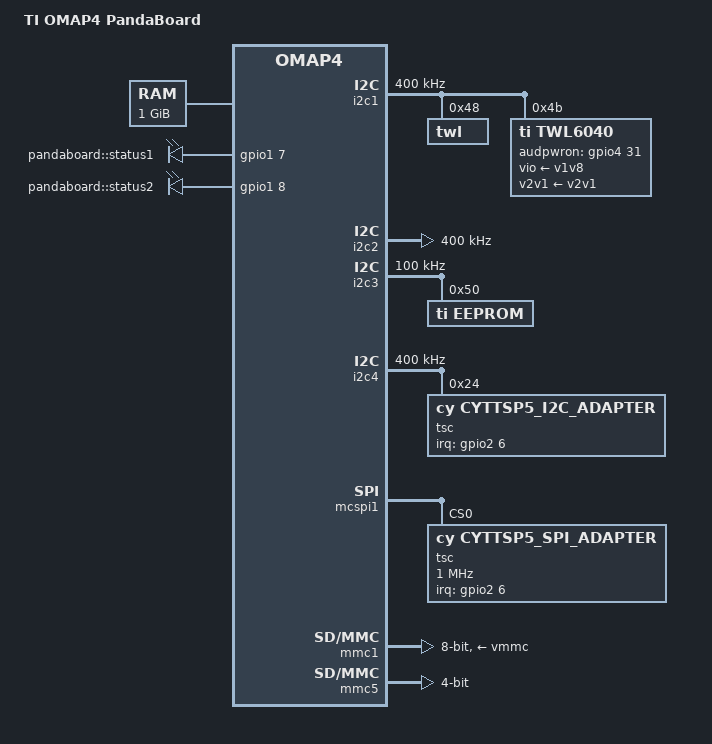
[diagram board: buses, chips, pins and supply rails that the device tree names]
/*
 * Copyright (C) 2011 Texas Instruments Incorporated - http://www.ti.com/
 *
 * This program is free software; you can redistribute it and/or modify
 * it under the terms of the GNU General Public License version 2 as
 * published by the Free Software Foundation.
 */
/dts-v1/;

/include/ "omap4.dtsi"
/include/ "elpida_ecb240abacn.dtsi"

/ {
	model = "TI OMAP4 PandaBoard";
	compatible = "ti,omap4-panda", "ti,omap4430", "ti,omap4";

	memory {
		device_type = "memory";
		reg = <0x80000000 0x40000000>; /* 1 GB */
	};

	leds {
		compatible = "gpio-leds";
		heartbeat {
			label = "pandaboard::status1";
			gpios = <&gpio1 7 0>;
			linux,default-trigger = "heartbeat";
		};

		mmc {
			label = "pandaboard::status2";
			gpios = <&gpio1 8 0>;
			linux,default-trigger = "mmc0";
		};
	};

	sound: sound {
		compatible = "ti,abe-twl6040";
		ti,model = "PandaBoard";

		ti,mclk-freq = <38400000>;

		ti,mcpdm = <&mcpdm>;

		ti,twl6040 = <&twl6040>;

		/* Audio routing */
		ti,audio-routing =
			"Headset Stereophone", "HSOL",
			"Headset Stereophone", "HSOR",
			"Ext Spk", "HFL",
			"Ext Spk", "HFR",
			"Line Out", "AUXL",
			"Line Out", "AUXR",
			"HSMIC", "Headset Mic",
			"Headset Mic", "Headset Mic Bias",
			"AFML", "Line In",
			"AFMR", "Line In";
	};
};

&omap4_pmx_core {
	pinctrl-names = "default";
	pinctrl-0 = <
			&twl6040_pins
			&mcpdm_pins
			&mcbsp1_pins
			&dss_hdmi_pins
			&tpd12s015_pins
			&cyttsp5_pins
	>;

	twl6040_pins: pinmux_twl6040_pins {
		pinctrl-single,pins = <
			0xe0 0x3	/* hdq_sio.gpio_127 OUTPUT | MODE3 */
			0x160 0x100	/* sys_nirq2.sys_nirq2 INPUT | MODE0 */
		>;
	};

	mcpdm_pins: pinmux_mcpdm_pins {
		pinctrl-single,pins = <
			0xc6 0x108	/* abe_pdm_ul_data.abe_pdm_ul_data INPUT PULLDOWN | MODE0 */
			0xc8 0x108	/* abe_pdm_dl_data.abe_pdm_dl_data INPUT PULLDOWN | MODE0 */
			0xca 0x118	/* abe_pdm_frame.abe_pdm_frame INPUT PULLUP | MODE0 */
			0xcc 0x108	/* abe_pdm_lb_clk.abe_pdm_lb_clk INPUT PULLDOWN | MODE0 */
			0xce 0x108	/* abe_clks.abe_clks INPUT PULLDOWN | MODE0 */
		>;
	};

	mcbsp1_pins: pinmux_mcbsp1_pins {
		pinctrl-single,pins = <
			0xbe 0x100	/* abe_mcbsp1_clkx.abe_mcbsp1_clkx INPUT | MODE0 */
			0xc0 0x108	/* abe_mcbsp1_dr.abe_mcbsp1_dr INPUT PULLDOWN | MODE0 */
			0xc2 0x8		/* abe_mcbsp1_dx.abe_mcbsp1_dx OUTPUT PULLDOWN | MODE0 */
			0xc4 0x100	/* abe_mcbsp1_fsx.abe_mcbsp1_fsx INPUT | MODE0 */
		>;
	};

	dss_hdmi_pins: pinmux_dss_hdmi_pins {
		pinctrl-single,pins = <
			0x5a 0x118	/* hdmi_cec.hdmi_cec INPUT PULLUP | MODE 0 */
			0x5c 0x118	/* hdmi_scl.hdmi_scl INPUT PULLUP | MODE 0 */
			0x5e 0x118	/* hdmi_sda.hdmi_sda INPUT PULLUP | MODE 0 */
		>;
	};

	tpd12s015_pins: pinmux_tpd12s015_pins {
		pinctrl-single,pins = <
			0x22 0x3	/* gpmc_a17.gpio_41 OUTPUT | MODE3 */
			0x48 0x3	/* gpmc_nbe1.gpio_60 OUTPUT | MODE3 */
			0x58 0x10b	/* hdmi_hpd.gpio_63 INPUT PULLDOWN | MODE3 */
		>;
	};

	cyttsp5_pins: pinmux_cyttsp5_pins {
		pinctrl-single,pins = <
			0x1c 0x11b	/* gpmc_a14.gpio_38 INPUT PULLUP | MODE3 */
			0x1a 0x3	/* gpmc_a13.gpio_37 OUTPUT | MODE3 */
		>;
	};
};

&i2c1 {
	clock-frequency = <400000>;

	twl: twl@48 {
		reg = <0x48>;
		/* SPI = 0, IRQ# = 7, 4 = active high level-sensitive */
		interrupts = <0 7 4>; /* IRQ_SYS_1N cascaded to gic */
		interrupt-parent = <&gic>;
	};

	twl6040: twl@4b {
		compatible = "ti,twl6040";
		reg = <0x4b>;
		/* SPI = 0, IRQ# = 119, 4 = active high level-sensitive */
		interrupts = <0 119 4>; /* IRQ_SYS_2N cascaded to gic */
		interrupt-parent = <&gic>;
		ti,audpwron-gpio = <&gpio4 31 0>;  /* gpio line 127 */

		vio-supply = <&v1v8>;
		v2v1-supply = <&v2v1>;
		enable-active-high;
	};
};

/include/ "twl6030.dtsi"

&i2c2 {
	clock-frequency = <400000>;
};

&i2c3 {
	clock-frequency = <100000>;

	/*
	 * Display monitor features are burnt in their EEPROM as EDID data.
	 * The EEPROM is connected as I2C slave device.
	 */
	eeprom@50 {
		compatible = "ti,eeprom";
		reg = <0x50>;
	};
};

&i2c4 {
	clock-frequency = <400000>;

	tsc@24 {
		compatible = "cy,cyttsp5_i2c_adapter";
		reg = <0x24>;

		/* GPIO 38, high-to-low edge triggered */
		interrupts = <6 2>;
		interrupt-parent = <&gpio2>;
		cy,adapter_id = "cyttsp5_i2c_adapter";

		cy,core {
			cy,name = "cyttsp5_core";

			cy,irq_gpio = <38>;
			cy,rst_gpio = <37>;
			cy,hid_desc_register = <1>;
			/*CY_CORE_FLAG_RESTORE_PARAMETERS */
			cy,flags = <4>;
			/* CY_CORE_EWG_NONE */
			cy,easy_wakeup_gesture = <0>;
			cy,btn_keys = <172 /* KEY_HOMEPAGE */
					   /* previously was KEY_HOME, new Android versions use KEY_HOMEPAGE */
				       139 /* KEY_MENU */
				       158 /* KEY_BACK */
				       217 /* KEY_SEARCH */
				       114 /* KEY_VOLUMEDOWN */
				       115 /* KEY_VOLUMEUP */
				       212 /* KEY_CAMERA */
				       116>; /* KEY_POWER */
			cy,btn_keys-tag = <0>;

			cy,mt {
				cy,name = "cyttsp5_mt";

				cy,inp_dev_name = "cyttsp5_mt";
				/* CY_MT_FLAG_FLIP | CY_MT_FLAG_INV_X | CY_MT_FLAG_INV_Y */
				cy,flags = <0x38>;
				cy,abs =
					/* ABS_MT_POSITION_X, CY_ABS_MIN_X, CY_ABS_MAX_X, 0, 0 */
					<0x35 0 880 0 0
					/* ABS_MT_POSITION_Y, CY_ABS_MIN_Y, CY_ABS_MAX_Y, 0, 0 */
					0x36 0 1280 0 0
					/* ABS_MT_PRESSURE, CY_ABS_MIN_P, CY_ABS_MAX_P, 0, 0 */
					0x3a 0 255 0 0
					/* CY_IGNORE_VALUE, CY_ABS_MIN_W, CY_ABS_MAX_W, 0, 0 */
					0xffff 0 255 0 0
					/* ABS_MT_TRACKING_ID, CY_ABS_MIN_T, CY_ABS_MAX_T, 0, 0 */
					0x39 0 15 0 0
					/* ABS_MT_TOUCH_MAJOR, 0, 255, 0, 0 */
					0x30 0 255 0 0
					/* ABS_MT_TOUCH_MINOR, 0, 255, 0, 0 */
					0x31 0 255 0 0
					/* ABS_MT_ORIENTATION, -127, 127, 0, 0 */
					0x34 0xffffff81 127 0 0
					/* ABS_MT_TOOL_TYPE, 0, MT_TOOL_MAX, 0, 0 */
					0x37 0 1 0 0
					/* ABS_MT_DISTANCE, 0, 255, 0, 0 */
					0x3b 0 255 0 0>;

				cy,vkeys_x = <720>;
				cy,vkeys_y = <1280>;

				cy,virtual_keys = /* KeyCode CenterX CenterY Width Height */
					/* KEY_BACK */
					<158 1360 90 160 180
					/* KEY_MENU */
					139 1360 270 160 180
					/* KEY_HOMEPAGE */
					172 1360 450 160 180
					/* KEY SEARCH */
					217 1360 630 160 180>;
			};

			cy,btn {
				cy,name = "cyttsp5_btn";

				cy,inp_dev_name = "cyttsp5_btn";
			};

			cy,proximity {
				cy,name = "cyttsp5_proximity";

				cy,inp_dev_name = "cyttsp5_proximity";
				cy,abs =
					/* ABS_DISTANCE, CY_PROXIMITY_MIN_VAL, CY_PROXIMITY_MAX_VAL, 0, 0 */
					<0x19 0 1 0 0>;
			};
		};
	};
};

&mcspi1 {
	tsc@0 {
		compatible = "cy,cyttsp5_spi_adapter";
		reg = <0>;
		spi-max-frequency = <1000000>;

		/* GPIO 38, high-to-low edge triggered */
		interrupts = <6 2>;
		interrupt-parent = <&gpio2>;
		cy,adapter_id = "cyttsp5_spi_adapter";

		cy,core {
			cy,name = "cyttsp5_core";

			cy,irq_gpio = <38>;
			cy,rst_gpio = <37>;
			cy,hid_desc_register = <1>;
			/* CY_CORE_FLAG_RESTORE_PARAMETERS */
			cy,flags = <4>;
			/* CY_CORE_EWG_NONE */
			cy,easy_wakeup_gesture = <0>;
			cy,btn_keys = <172 /* KEY_HOMEPAGE */
					   /* previously was KEY_HOME, new Android versions use KEY_HOMEPAGE */
				       139 /* KEY_MENU */
				       158 /* KEY_BACK */
				       217 /* KEY_SEARCH */
				       114 /* KEY_VOLUMEDOWN */
				       115 /* KEY_VOLUMEUP */
				       212 /* KEY_CAMERA */
				       116>; /* KEY_POWER */
			cy,btn_keys-tag = <0>;

			cy,mt {
				cy,name = "cyttsp5_mt";

				cy,inp_dev_name = "cyttsp5_mt";
				/* CY_MT_FLAG_FLIP | CY_MT_FLAG_INV_X | CY_MT_FLAG_INV_Y */
				cy,flags = <0x38>;
				cy,abs =
					/* ABS_MT_POSITION_X, CY_ABS_MIN_X, CY_ABS_MAX_X, 0, 0 */
					<0x35 0 880 0 0
					/* ABS_MT_POSITION_Y, CY_ABS_MIN_Y, CY_ABS_MAX_Y, 0, 0 */
					0x36 0 1280 0 0
					/* ABS_MT_PRESSURE, CY_ABS_MIN_P, CY_ABS_MAX_P, 0, 0 */
					0x3a 0 255 0 0
					/* CY_IGNORE_VALUE, CY_ABS_MIN_W, CY_ABS_MAX_W, 0, 0 */
					0xffff 0 255 0 0
					/* ABS_MT_TRACKING_ID, CY_ABS_MIN_T, CY_ABS_MAX_T, 0, 0 */
					0x39 0 15 0 0
					/* ABS_MT_TOUCH_MAJOR, 0, 255, 0, 0 */
					0x30 0 255 0 0
					/* ABS_MT_TOUCH_MINOR, 0, 255, 0, 0 */
					0x31 0 255 0 0
					/* ABS_MT_ORIENTATION, -127, 127, 0, 0 */
					0x34 0xffffff81 127 0 0
					/* ABS_MT_TOOL_TYPE, 0, MT_TOOL_MAX, 0, 0 */
					0x37 0 1 0 0
					/* ABS_MT_DISTANCE, 0, 255, 0, 0 */
					0x3b 0 255 0 0>;

				cy,vkeys_x = <720>;
				cy,vkeys_y = <1280>;

				cy,virtual_keys = /* KeyCode CenterX CenterY Width Height */
					/* KEY_BACK */
					<158 1360 90 160 180
					/* KEY_MENU */
					139 1360 270 160 180
					/* KEY_HOMEPAGE */
					172 1360 450 160 180
					/* KEY SEARCH */
					217 1360 630 160 180>;
			};

			cy,btn {
				cy,name = "cyttsp5_btn";

				cy,inp_dev_name = "cyttsp5_btn";
			};

			cy,proximity {
				cy,name = "cyttsp5_proximity";

				cy,inp_dev_name = "cyttsp5_proximity";
				cy,abs =
					/* ABS_DISTANCE, CY_PROXIMITY_MIN_VAL, CY_PROXIMITY_MAX_VAL, 0, 0 */
					<0x19 0 1 0 0>;
			};
		};
	};
};

&mmc1 {
	vmmc-supply = <&vmmc>;
	bus-width = <8>;
};

&mmc2 {
	status = "disabled";
};

&mmc3 {
	status = "disabled";
};

&mmc4 {
	status = "disabled";
};

&mmc5 {
	ti,non-removable;
	bus-width = <4>;
};

&emif1 {
	cs1-used;
	device-handle = <&elpida_ECB240ABACN>;
};

&emif2 {
	cs1-used;
	device-handle = <&elpida_ECB240ABACN>;
};

&mcbsp2 {
	status = "disabled";
};

&mcbsp3 {
	status = "disabled";
};

&dmic {
	status = "disabled";
};

&twl_usb_comparator {
	usb-supply = <&vusb>;
};
